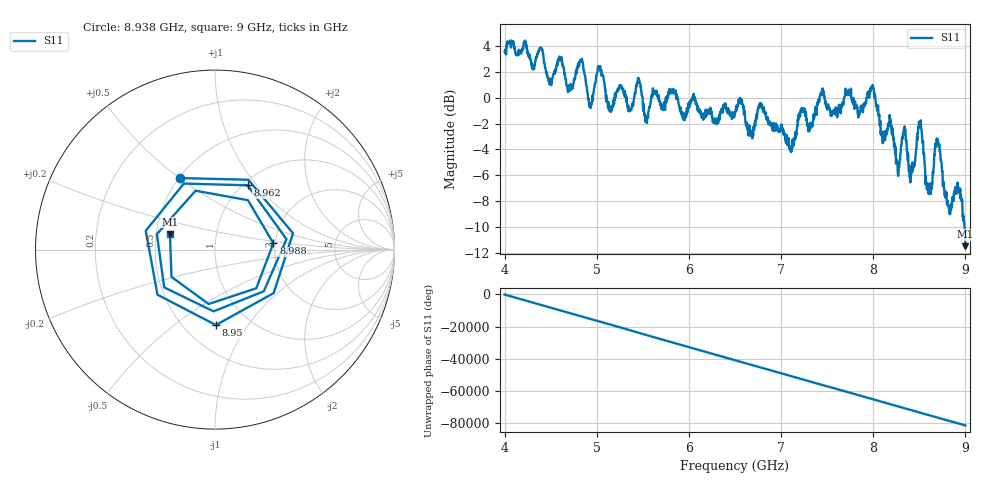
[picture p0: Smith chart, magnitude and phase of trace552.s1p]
! Created with skrf 1.8.0 (http://scikit-rf.org).
# Hz S RI R 50.0
!freq ReS11 ImS11
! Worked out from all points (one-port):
!   1601 points, 4 GHz to 9 GHz, reference 50 ohm
!   lowest |S11| = -11.5 dB at 9 GHz (marker M1), VSWR 1.73, Z = 29.5 + j5.58 ohm
!   |S11| at or under -10 dB: 8.990767 GHz to end of sweep
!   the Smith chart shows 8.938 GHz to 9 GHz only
!   S11 on the Smith chart (normalised r, x): 8.938 GHz: 0.50, +0.50; 8.95 GHz: 0.71, -0.72; 8.962 GHz: 1.05, +0.90; 8.988 GHz: 1.96, +0.16; 9 GHz: 0.59, +0.11
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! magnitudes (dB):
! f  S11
! 4 GHz  3.6
! 4.625 GHz  2.8
! 4.709 GHz  0.5
! 4.838 GHz  3.0
! 4.931 GHz  -0.7
! 5.025 GHz  2.4
! 5.141 GHz  -0.9
! 5.25 GHz  1.0
! 5.453 GHz  1.4
! 5.538 GHz  -1.7
! 5.875 GHz  0.0
! 6.5 GHz  -1.2
! 7.125 GHz  -3.2
! 7.234 GHz  -0.8
! 7.75 GHz  0.2
! 7.991 GHz  0.9
! 8.262 GHz  -5.0
! 8.334 GHz  -2.5
! 8.375 GHz  -4.9
! 8.506 GHz  -2.1
! 8.591 GHz  -6.6
! 8.694 GHz  -3.3
! 8.822 GHz  -8.6
! 8.938 GHz  -7.0
! 8.95 GHz  -7.5
! 8.962 GHz  -7.9
! 8.988 GHz  -9.7
! 9 GHz  -11.5
